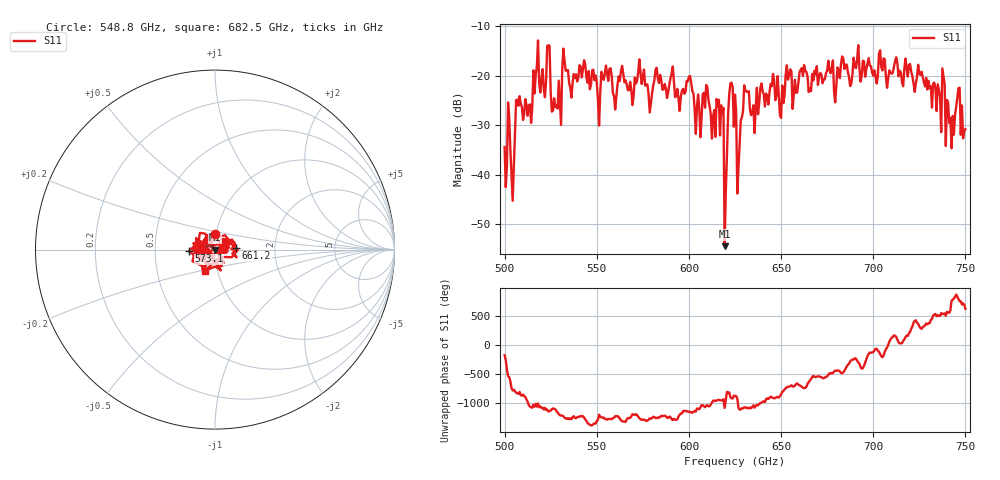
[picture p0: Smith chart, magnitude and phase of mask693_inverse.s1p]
!Created with skrf (http://scikit-rf.org).
# GHz S MA R 50.0
!freq magS11 angS11
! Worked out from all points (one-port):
!   401 points, 500 GHz to 750 GHz, reference 50 ohm
!   lowest |S11| = -54.5 dB at 619.4 GHz (marker M1), VSWR 1.00, Z = 50.2 - j0.00759 ohm
!   |S11| at or under -10 dB: start of sweep to end of sweep
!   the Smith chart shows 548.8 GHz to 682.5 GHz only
!   S11 on the Smith chart (normalised r, x): 548.8 GHz: 0.98, +0.18; 573.1 GHz: 0.75, -0.01; 661.2 GHz: 1.27, +0.02; 682.5 GHz: 0.87, -0.21
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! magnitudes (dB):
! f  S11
! 500 GHz  -34.4
! 504.4 GHz  -45.3
! 507.5 GHz  -26.1
! 513.8 GHz  -25.8
! 516.9 GHz  -19.9
! 523.8 GHz  -13.9
! 526.9 GHz  -24.6
! 531.2 GHz  -18.9
! 548.8 GHz  -21.0
! 562.5 GHz  -21.1
! 573.1 GHz  -16.7
! 593.8 GHz  -22.7
! 616.2 GHz  -24.9
! 619.4 GHz  -54.5
! 620.6 GHz  -36.2
! 622.5 GHz  -21.6
! 625 GHz  -23.9
! 627.5 GHz  -34.1
! 631.2 GHz  -23.3
! 634.4 GHz  -27.4
! 656.2 GHz  -26.7
! 661.2 GHz  -18.5
! 682.5 GHz  -17.7
! 687.5 GHz  -22.1
! 718.8 GHz  -20.2
! 742.5 GHz  -34.7
! 745.6 GHz  -24.5
! 750 GHz  -30.8
